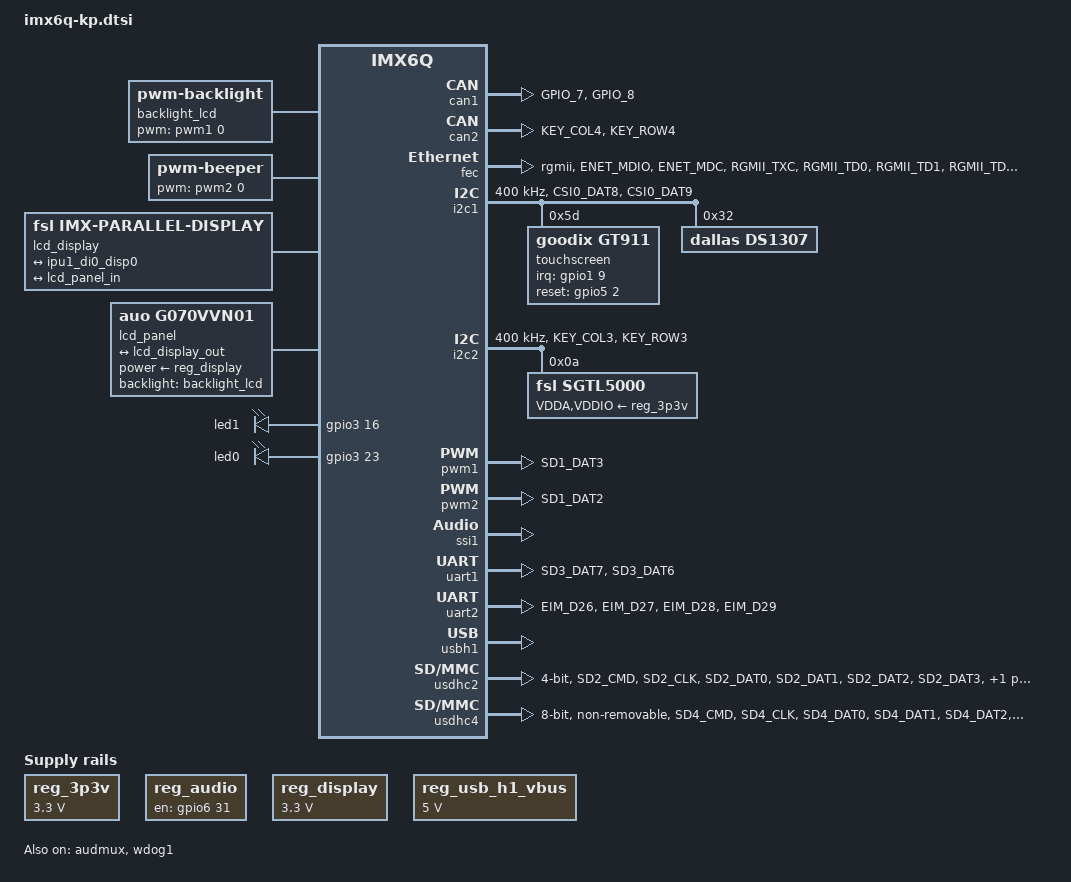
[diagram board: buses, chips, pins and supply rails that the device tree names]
// SPDX-License-Identifier: (GPL-2.0+ OR MIT)
/*
 * Copyright 2018
 * Lukasz Majewski, DENX Software Engineering, lukma@denx.de
 */

/dts-v1/;

#include "imx6q.dtsi"

#include <dt-bindings/gpio/gpio.h>
#include <dt-bindings/pwm/pwm.h>
#include <dt-bindings/sound/fsl-imx-audmux.h>

/ {
	backlight_lcd: backlight-lcd {
		compatible = "pwm-backlight";
		pwms = <&pwm1 0 5000000>;
		brightness-levels = <0 255>;
		num-interpolated-steps = <255>;
		default-brightness-level = <250>;
	};

	beeper {
		compatible = "pwm-beeper";
		pwms = <&pwm2 0 500000>;
	};

	lcd_display: display {
		compatible = "fsl,imx-parallel-display";
		#address-cells = <1>;
		#size-cells = <0>;
		interface-pix-fmt = "rgb24";
		pinctrl-names = "default";
		pinctrl-0 = <&pinctrl_ipu1>;

		port@0 {
			reg = <0>;

			lcd_display_in: endpoint {
				remote-endpoint = <&ipu1_di0_disp0>;
			};
		};

		port@1 {
			reg = <1>;

			lcd_display_out: endpoint {
				remote-endpoint = <&lcd_panel_in>;
			};
		};
	};

	lcd_panel: lcd-panel {
		compatible = "auo,g070vvn01";
		backlight = <&backlight_lcd>;
		power-supply = <&reg_display>;

		port {
			lcd_panel_in: endpoint {
				remote-endpoint = <&lcd_display_out>;
			};
		};
	};

	leds {
		compatible = "gpio-leds";

		green {
			label = "led1";
			gpios = <&gpio3 16 GPIO_ACTIVE_HIGH>;
			linux,default-trigger = "gpio";
			default-state = "off";
		};

		red {
			label = "led0";
			gpios = <&gpio3 23 GPIO_ACTIVE_HIGH>;
			linux,default-trigger = "gpio";
			default-state = "off";
		};
	};

	reg_3p3v: regulator-3p3v {
		compatible = "regulator-fixed";
		regulator-name = "3P3V";
		regulator-min-microvolt = <3300000>;
		regulator-max-microvolt = <3300000>;
		regulator-always-on;
	};

	reg_audio: regulator-audio {
		compatible = "regulator-fixed";
		regulator-name = "sgtl5000-supply";
		gpio = <&gpio6 31 GPIO_ACTIVE_HIGH>;
		enable-active-high;
		regulator-always-on;
	};

	reg_display: regulator-display {
		compatible = "regulator-fixed";
		regulator-name = "display-supply";
		regulator-min-microvolt = <3300000>;
		regulator-max-microvolt = <3300000>;
		regulator-always-on;
	};

	reg_usb_h1_vbus: regulator-usb_h1_vbus {
		compatible = "regulator-fixed";
		regulator-name = "usb_h1_vbus";
		regulator-min-microvolt = <5000000>;
		regulator-max-microvolt = <5000000>;
		enable-active-high;
	};

	sound {
		compatible = "simple-audio-card";
		simple-audio-card,name = "imx6q-sgtl5000-audio";
		simple-audio-card,format = "i2s";
		simple-audio-card,bitclock-master = <&codec_dai>;
		simple-audio-card,frame-master = <&codec_dai>;

		cpu_dai: simple-audio-card,cpu {
			sound-dai = <&ssi1>;
		};

		codec_dai: simple-audio-card,codec {
			sound-dai = <&sgtl5000>;
		};
	};
};

&audmux {
	pinctrl-names = "default";
	pinctrl-0 = <&pinctrl_audmux>;
	status = "okay";

	ssi1 {
		fsl,audmux-port = <0>;
		fsl,port-config = <
			(IMX_AUDMUX_V2_PTCR_SYN |
			IMX_AUDMUX_V2_PTCR_TFSEL(2) |
			IMX_AUDMUX_V2_PTCR_TCSEL(2) |
			IMX_AUDMUX_V2_PTCR_TFSDIR |
			IMX_AUDMUX_V2_PTCR_TCLKDIR)
			IMX_AUDMUX_V2_PDCR_RXDSEL(2)
		>;
	};

	aud3 {
		fsl,audmux-port = <2>;
		fsl,port-config = <
			IMX_AUDMUX_V2_PTCR_SYN
			IMX_AUDMUX_V2_PDCR_RXDSEL(0)
		>;
	};
};

&can1 {
	pinctrl-names = "default";
	pinctrl-0 = <&pinctrl_flexcan1>;
};

&can2 {
	pinctrl-names = "default";
	pinctrl-0 = <&pinctrl_flexcan2>;
};

&fec {
	pinctrl-names = "default";
	pinctrl-0 = <&pinctrl_enet>;
	phy-mode = "rgmii";
	fsl,magic-packet;
	status = "okay";
};

&i2c1 {
	clock-frequency = <400000>;
	pinctrl-names = "default";
	pinctrl-0 = <&pinctrl_i2c1>;
	status = "okay";

	touchscreen@5d {
		compatible = "goodix,gt911";
		reg = <0x5d>;
		pinctrl-names = "default";
		pinctrl-0 = <&pinctrl_ts>;
		interrupt-parent = <&gpio1>;
		interrupts = <9 IRQ_TYPE_EDGE_FALLING>;
		irq-gpios = <&gpio1 9 GPIO_ACTIVE_HIGH>;
		reset-gpios = <&gpio5 2 GPIO_ACTIVE_HIGH>;
	};

	ds1307: rtc@32 {
		compatible = "dallas,ds1307";
		reg = <0x32>;
	};
};

&i2c2 {
	clock-frequency = <400000>;
	pinctrl-names = "default";
	pinctrl-0 = <&pinctrl_i2c2>;
	status = "okay";

	sgtl5000: audio-codec@a {
		compatible = "fsl,sgtl5000";
		#sound-dai-cells = <0>;
		reg = <0x0a>;
		pinctrl-names = "default";
		pinctrl-0 = <&pinctrl_codec>;
		clocks = <&clks IMX6QDL_CLK_CKO>;
		VDDA-supply = <&reg_3p3v>;
		VDDIO-supply = <&reg_3p3v>;
	};
};

&iomuxc {
	pinctrl_audmux: audmuxgrp {
		fsl,pins = <
			MX6QDL_PAD_CSI0_DAT7__AUD3_RXD		0x130b0
			MX6QDL_PAD_CSI0_DAT4__AUD3_TXC		0x130b0
			MX6QDL_PAD_CSI0_DAT5__AUD3_TXD		0x110b0
			MX6QDL_PAD_CSI0_DAT6__AUD3_TXFS	0x130b0
		>;
	};

	pinctrl_codec: codecgrp {
		fsl,pins = <
			MX6QDL_PAD_EIM_BCLK__GPIO6_IO31   0x1b0b0
			/* sgtl5000 sys_mclk clock routed to CLKO1 */
			MX6QDL_PAD_GPIO_0__CCM_CLKO1      0x000b0
		>;
	};

	pinctrl_enet: enetgrp {
		fsl,pins = <
			MX6QDL_PAD_ENET_MDIO__ENET_MDIO	0x1b0b0
			MX6QDL_PAD_ENET_MDC__ENET_MDC		0x1b0b0
			MX6QDL_PAD_RGMII_TXC__RGMII_TXC	0x1b0b0
			MX6QDL_PAD_RGMII_TD0__RGMII_TD0	0x1b0b0
			MX6QDL_PAD_RGMII_TD1__RGMII_TD1	0x1b0b0
			MX6QDL_PAD_RGMII_TD2__RGMII_TD2	0x1b0b0
			MX6QDL_PAD_RGMII_TD3__RGMII_TD3	0x1b0b0
			MX6QDL_PAD_RGMII_TX_CTL__RGMII_TX_CTL	0x1b0b0
			MX6QDL_PAD_ENET_REF_CLK__ENET_TX_CLK	0x1b0b0
			MX6QDL_PAD_RGMII_RXC__RGMII_RXC	0x1b0b0
			MX6QDL_PAD_RGMII_RD0__RGMII_RD0	0x1b0b0
			MX6QDL_PAD_RGMII_RD1__RGMII_RD1	0x1b0b0
			MX6QDL_PAD_RGMII_RD2__RGMII_RD2	0x1b0b0
			MX6QDL_PAD_RGMII_RD3__RGMII_RD3	0x1b0b0
			MX6QDL_PAD_RGMII_RX_CTL__RGMII_RX_CTL	0x1b0b0
			MX6QDL_PAD_GPIO_16__ENET_REF_CLK 0x4001b0a8
		>;
	};

	pinctrl_flexcan1: can1grp {
		fsl,pins = <
			MX6QDL_PAD_GPIO_7__FLEXCAN1_TX        0x1b0b0
			MX6QDL_PAD_GPIO_8__FLEXCAN1_RX        0x1b0b0
		>;
	};

	pinctrl_flexcan2: can2grp {
		fsl,pins = <
			MX6QDL_PAD_KEY_COL4__FLEXCAN2_TX        0x1b0b0
			MX6QDL_PAD_KEY_ROW4__FLEXCAN2_RX        0x1b0b0
		>;
	};

	pinctrl_i2c1: i2c1grp {
		fsl,pins = <
			MX6QDL_PAD_CSI0_DAT8__I2C1_SDA	0x4001b8b1
			MX6QDL_PAD_CSI0_DAT9__I2C1_SCL	0x4001b8b1
		>;
	};

	pinctrl_i2c2: i2c2grp {
		fsl,pins = <
			MX6QDL_PAD_KEY_COL3__I2C2_SCL	0x4001b8b1
			MX6QDL_PAD_KEY_ROW3__I2C2_SDA	0x4001b8b1
		 >;
	};

	pinctrl_ipu1: ipu1grp {
		fsl,pins = <
			MX6QDL_PAD_DI0_DISP_CLK__IPU1_DI0_DISP_CLK 0x10
			MX6QDL_PAD_DI0_PIN15__IPU1_DI0_PIN15       0x10
			MX6QDL_PAD_DI0_PIN2__IPU1_DI0_PIN02        0x10
			MX6QDL_PAD_DI0_PIN3__IPU1_DI0_PIN03        0x10
			MX6QDL_PAD_DISP0_DAT0__IPU1_DISP0_DATA00   0x10
			MX6QDL_PAD_DISP0_DAT1__IPU1_DISP0_DATA01   0x10
			MX6QDL_PAD_DISP0_DAT2__IPU1_DISP0_DATA02   0x10
			MX6QDL_PAD_DISP0_DAT3__IPU1_DISP0_DATA03   0x10
			MX6QDL_PAD_DISP0_DAT4__IPU1_DISP0_DATA04   0x10
			MX6QDL_PAD_DISP0_DAT5__IPU1_DISP0_DATA05   0x10
			MX6QDL_PAD_DISP0_DAT6__IPU1_DISP0_DATA06   0x10
			MX6QDL_PAD_DISP0_DAT7__IPU1_DISP0_DATA07   0x10
			MX6QDL_PAD_DISP0_DAT8__IPU1_DISP0_DATA08   0x10
			MX6QDL_PAD_DISP0_DAT9__IPU1_DISP0_DATA09   0x10
			MX6QDL_PAD_DISP0_DAT10__IPU1_DISP0_DATA10  0x10
			MX6QDL_PAD_DISP0_DAT11__IPU1_DISP0_DATA11  0x10
			MX6QDL_PAD_DISP0_DAT12__IPU1_DISP0_DATA12  0x10
			MX6QDL_PAD_DISP0_DAT13__IPU1_DISP0_DATA13  0x10
			MX6QDL_PAD_DISP0_DAT14__IPU1_DISP0_DATA14  0x10
			MX6QDL_PAD_DISP0_DAT15__IPU1_DISP0_DATA15  0x10
			MX6QDL_PAD_DISP0_DAT16__IPU1_DISP0_DATA16  0x10
			MX6QDL_PAD_DISP0_DAT17__IPU1_DISP0_DATA17  0x10
			MX6QDL_PAD_DISP0_DAT18__IPU1_DISP0_DATA18  0x10
			MX6QDL_PAD_DISP0_DAT19__IPU1_DISP0_DATA19  0x10
			MX6QDL_PAD_DISP0_DAT20__IPU1_DISP0_DATA20  0x10
			MX6QDL_PAD_DISP0_DAT21__IPU1_DISP0_DATA21  0x10
			MX6QDL_PAD_DISP0_DAT22__IPU1_DISP0_DATA22  0x10
			MX6QDL_PAD_DISP0_DAT23__IPU1_DISP0_DATA23  0x10
		>;
	};

	pinctrl_pwm1: pwm1grp {
		fsl,pins = <
			MX6QDL_PAD_SD1_DAT3__PWM1_OUT		0x1b0b1
		>;
	};

	pinctrl_pwm2: pwm2grp {
		fsl,pins = <
			MX6QDL_PAD_SD1_DAT2__PWM2_OUT		0x1b0b1
		>;
	};

	pinctrl_ts: tsgrp {
		fsl,pins = <
			MX6QDL_PAD_GPIO_9__GPIO1_IO09 0x1b0b0
			MX6QDL_PAD_EIM_A25__GPIO5_IO02 0x1b0b0
		>;
	};

	pinctrl_uart1: uart1grp {
		fsl,pins = <
			MX6QDL_PAD_SD3_DAT7__UART1_TX_DATA	0x1b0b1
			MX6QDL_PAD_SD3_DAT6__UART1_RX_DATA	0x1b0b1
		>;
	};

	pinctrl_uart2: uart2grp {
		fsl,pins = <
			MX6QDL_PAD_EIM_D26__UART2_TX_DATA       0x1b0b1
			MX6QDL_PAD_EIM_D27__UART2_RX_DATA       0x1b0b1
			MX6QDL_PAD_EIM_D28__UART2_CTS_B         0x1b0b1
			MX6QDL_PAD_EIM_D29__UART2_RTS_B         0x1b0b1
		>;
	};

	pinctrl_usdhc2: usdhc2grp {
		fsl,pins = <
			MX6QDL_PAD_SD2_CMD__SD2_CMD		0x17059
			MX6QDL_PAD_SD2_CLK__SD2_CLK		0x10059
			MX6QDL_PAD_SD2_DAT0__SD2_DATA0		0x17059
			MX6QDL_PAD_SD2_DAT1__SD2_DATA1		0x17059
			MX6QDL_PAD_SD2_DAT2__SD2_DATA2		0x17059
			MX6QDL_PAD_SD2_DAT3__SD2_DATA3		0x17059
		>;
	};

	pinctrl_usdhc4: usdhc4grp {
		fsl,pins = <
			MX6QDL_PAD_SD4_CMD__SD4_CMD		0x17059
			MX6QDL_PAD_SD4_CLK__SD4_CLK		0x10059
			MX6QDL_PAD_SD4_DAT0__SD4_DATA0		0x17059
			MX6QDL_PAD_SD4_DAT1__SD4_DATA1		0x17059
			MX6QDL_PAD_SD4_DAT2__SD4_DATA2		0x17059
			MX6QDL_PAD_SD4_DAT3__SD4_DATA3		0x17059
			MX6QDL_PAD_SD4_DAT4__SD4_DATA4		0x17059
			MX6QDL_PAD_SD4_DAT5__SD4_DATA5		0x17059
			MX6QDL_PAD_SD4_DAT6__SD4_DATA6		0x17059
			MX6QDL_PAD_SD4_DAT7__SD4_DATA7		0x17059
		>;
	};
};

&pwm1 {
	#pwm-cells = <2>;
	pinctrl-names = "default";
	pinctrl-0 = <&pinctrl_pwm1>;
	status = "okay";
};

&pwm2 {
	#pwm-cells = <2>;
	pinctrl-names = "default";
	pinctrl-0 = <&pinctrl_pwm2>;
	status = "okay";
};

&ssi1 {
	status = "okay";
};

&uart1 {
	pinctrl-names = "default";
	pinctrl-0 = <&pinctrl_uart1>;
	status = "okay";
};

&uart2 {
	pinctrl-names = "default";
	pinctrl-0 = <&pinctrl_uart2>;
	uart-has-rtscts;
};

&usbh1 {
	status = "okay";
};

&usdhc2 {
	pinctrl-names = "default";
	pinctrl-0 = <&pinctrl_usdhc2>;
	bus-width = <4>;
	cd-gpios = <&gpio1 4 GPIO_ACTIVE_LOW>;
	status = "okay";
};

&usdhc4 {
	pinctrl-names = "default";
	pinctrl-0 = <&pinctrl_usdhc4>;
	bus-width = <8>;
	non-removable;
	no-1-8-v;
	keep-power-in-suspend;
	status = "okay";
};

&wdog1 {
	status = "okay";
};
